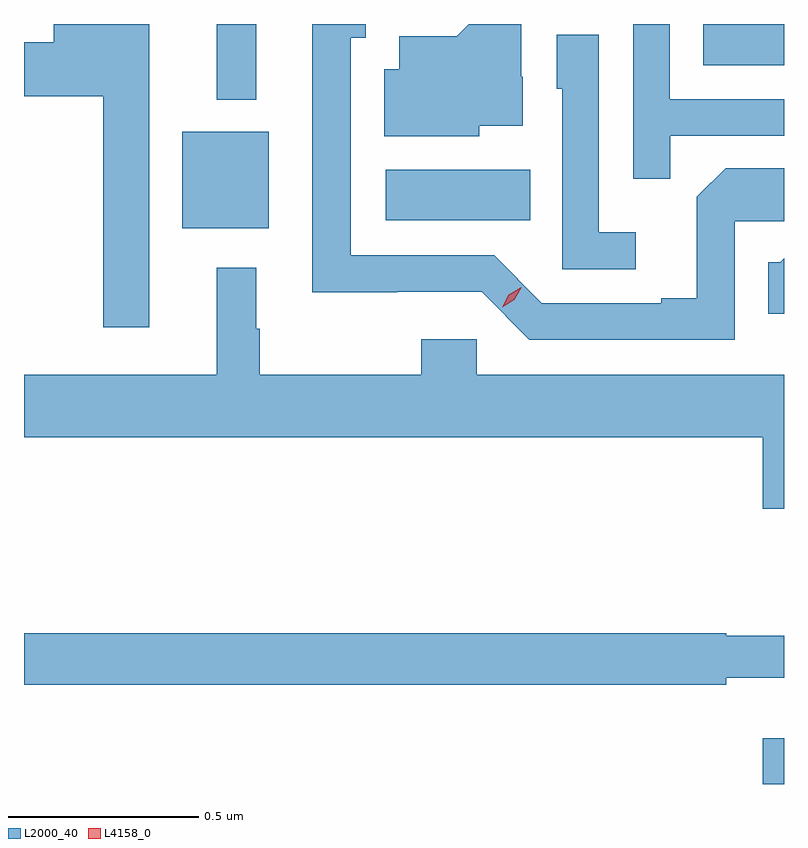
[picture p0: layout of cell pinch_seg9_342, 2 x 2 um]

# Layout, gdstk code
import gdstk
lib = gdstk.Library(unit=1e-6, precision=1e-09)
def R(c, l, rs):  # rectangles x0, y0, x1, y1
    for r in rs: c.add(gdstk.rectangle(r[:2], r[2:], *l))
def P(c, l, *ps):  # polygons
    for p in ps: c.add(gdstk.Polygon(p, *l))
L2000_40 = (2000, 40)
L4158_0 = (4158, 0)

pinch_seg9_342 = lib.new_cell('pinch_seg9_342')
R(pinch_seg9_342, L2000_40, [(596.576,1183.519,596.632,1183.639), (595.049,1184.981,595.276,1185.235), (595.584,1185.002,595.964,1185.136), (595.139,1185.32,595.243,1185.519), (596.42,1185.41,596.632,1185.519)])
P(pinch_seg9_342, L2000_40, [(596.502,1185),(596.632,1185),(596.632,1185.14),(596.479,1185.14),(596.403,1185.064),(596.403,1184.797),(596.309,1184.797),(596.309,1184.784),(595.995,1184.784),(595.869,1184.91),(595.492,1184.91),(595.492,1185.483),(595.531,1185.483),(595.531,1185.519),(595.391,1185.519),(595.391,1184.813),(595.614,1184.813),(595.614,1184.814),(595.836,1184.814),(595.962,1184.688),(596.502,1184.688)],
  [(595.83,1185.251),(595.945,1185.251),(595.945,1185.38),(595.941,1185.38),(595.941,1185.519),(595.803,1185.519),(595.771,1185.487),(595.619,1185.487),(595.619,1185.4),(595.58,1185.4),(595.58,1185.224),(595.83,1185.224)],
  [(596.333,1185.225),(596.632,1185.225),(596.632,1185.321),(596.331,1185.321),(596.331,1185.519),(596.235,1185.519),(596.235,1185.112),(596.333,1185.112)],
  [(594.961,1185.519),(594.71,1185.519),(594.71,1185.471),(594.632,1185.471),(594.632,1185.329),(594.84,1185.329),(594.84,1184.721),(594.961,1184.721)],
  [(596.242,1184.971),(596.145,1184.971),(596.145,1185.491),(596.034,1185.491),(596.034,1185.348),(596.049,1185.348),(596.049,1184.874),(596.242,1184.874)],
  [(596.632,1184.902),(596.622,1184.892),(596.591,1184.892),(596.591,1184.756),(596.632,1184.756)],
  [(596.632,1184.596),(595.824,1184.596),(595.824,1184.689),(595.678,1184.689),(595.678,1184.596),(595.253,1184.596),(595.253,1184.717),(595.243,1184.717),(595.243,1184.878),(595.139,1184.878),(595.139,1184.596),(594.632,1184.596),(594.632,1184.432),(596.576,1184.432),(596.576,1184.244),(596.632,1184.244)],
  [(596.48,1183.799),(596.632,1183.799),(596.632,1183.909),(596.48,1183.909),(596.48,1183.916),(594.632,1183.916),(594.632,1183.78),(596.48,1183.78)])
P(pinch_seg9_342, L4158_0, [(595.89,1184.774),(595.89,1184.774),(595.908,1184.807),(595.94,1184.826),(595.94,1184.826),(595.94,1184.825),(595.922,1184.793),(595.891,1184.774)])

lib.write_gds('pinch_seg9_342.gds')
